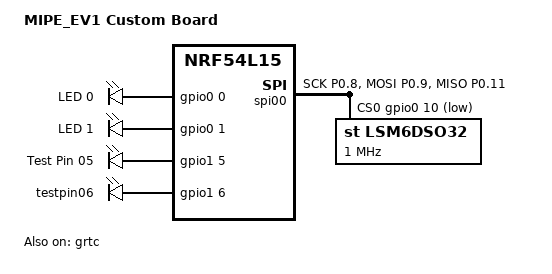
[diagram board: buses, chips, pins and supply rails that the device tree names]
/*
 * Copyright (c) 2025 MIPE_EV1 Project
 * SPDX-License-Identifier: Apache-2.0
 */

/dts-v1/;

#include <nordic/nrf54l15_cpuapp.dtsi>

/ {
	model = "MIPE_EV1 Custom Board";
	compatible = "mipe,mipe-ev1";

	chosen {
		zephyr,sram = &cpuapp_sram;
		zephyr,flash = &cpuapp_rram;
		zephyr,code-partition = &slot0_partition;
	};

	leds {
		compatible = "gpio-leds";
		led0: led_0 {
			gpios = <&gpio0 0 GPIO_ACTIVE_HIGH>;
			label = "LED 0";
		};
		led1: led_1 {
			gpios = <&gpio0 1 GPIO_ACTIVE_HIGH>;
			label = "LED 1";
		};
	};

	test_pins {
		compatible = "gpio-leds";
		testpin05: test_pin_05 {
			gpios = <&gpio1 5 GPIO_ACTIVE_HIGH>;
			label = "Test Pin 05";
		};
		testpin06: test_pin_06 {
			gpios = <&gpio1 6 GPIO_ACTIVE_HIGH>;
		};
	};

	/* SPI pinctrl configuration for LSM6DSO32 */
	pinctrl {
		compatible = "nordic,nrf-pinctrl";

		spi00_default: spi00_default {
			group1 {
				psels = <NRF_PSEL(SPIM_SCK, 0, 8)>,
				        <NRF_PSEL(SPIM_MOSI, 0, 9)>,
				        <NRF_PSEL(SPIM_MISO, 0, 11)>;
			};
		};
	};

	aliases {
		led0 = &led0;
		led1 = &led1;
		testpin05 = &testpin05;
		testpin06 = &testpin06;
	};
};

/* Enable GPIO ports */
&gpio0 {
	status = "okay";
};

&gpio1 {
	status = "okay";
};

/* Enable GPIOTE instances - REQUIRED for GPIO operations */
&gpiote20 {
	status = "okay";
};

&gpiote30 {
	status = "okay";
};

/* Enable SPI for LSM6DSO32 sensor communication */
&spi00 {
	status = "okay";
	cs-gpios = <&gpio0 10 GPIO_ACTIVE_LOW>;
	pinctrl-0 = <&spi00_default>;
	pinctrl-names = "default";

	lsm6dso32: lsm6dso32@0 {
		compatible = "st,lsm6dso32";
		reg = <0>;
		spi-max-frequency = <1000000>; /* 1MHz for stable communication */
		label = "LSM6DSO32";
	};
};

/* Re-enable GRTC timer - minimal required configuration */
&grtc {
	owned-channels = <0>;
	status = "okay";
};

/* Include partition configuration */
#include <nordic/nrf54l15_partition.dtsi>
